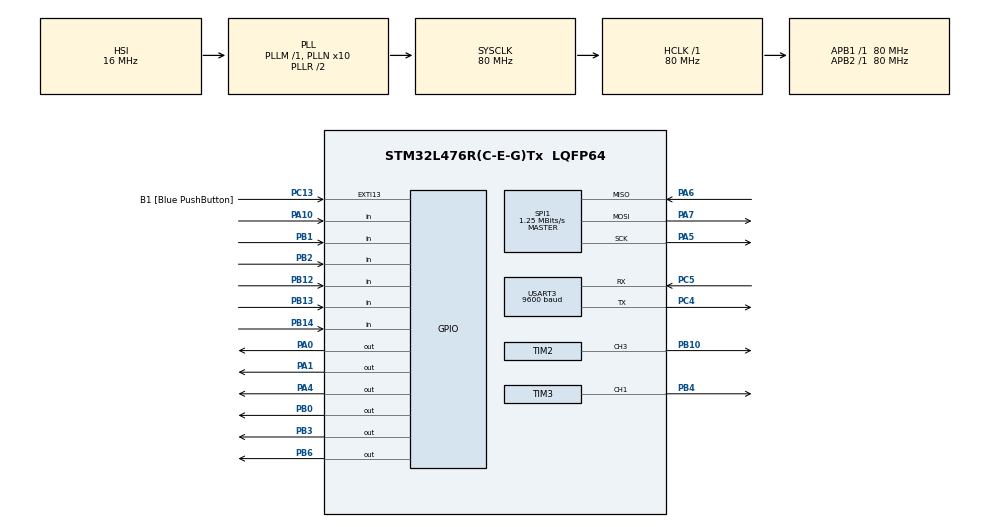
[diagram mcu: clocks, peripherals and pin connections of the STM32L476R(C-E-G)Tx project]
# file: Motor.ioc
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Mcu.Family=STM32L4
Mcu.Name=STM32L476R(C-E-G)Tx
Mcu.Package=LQFP64
NVIC.PriorityGroup=NVIC_PRIORITYGROUP_4
PA0.GPIO_Speed=GPIO_SPEED_FREQ_HIGH
PA0.Signal=GPIO_Output
PA1.GPIO_Speed=GPIO_SPEED_FREQ_HIGH
PA1.Signal=GPIO_Output
PA10.GPIO_PuPd=GPIO_PULLDOWN
PA10.Signal=GPIO_Input
PA13\ (JTMS-SWDIO).GPIO_Label=TMS
PA13\ (JTMS-SWDIO).Mode=Serial_Wire
PA13\ (JTMS-SWDIO).Signal=SYS_JTMS-SWDIO
PA14\ (JTCK-SWCLK).GPIO_Label=TCK
PA14\ (JTCK-SWCLK).Mode=Serial_Wire
PA14\ (JTCK-SWCLK).Signal=SYS_JTCK-SWCLK
PA4.GPIO_Speed=GPIO_SPEED_FREQ_HIGH
PA4.Signal=GPIO_Output
PA5.Mode=Full_Duplex_Master
PA5.Signal=SPI1_SCK
PA6.Mode=Full_Duplex_Master
PA6.Signal=SPI1_MISO
PA7.Mode=Full_Duplex_Master
PA7.Signal=SPI1_MOSI
PB0.GPIO_Speed=GPIO_SPEED_FREQ_HIGH
PB0.Signal=GPIO_Output
PB1.GPIO_PuPd=GPIO_PULLUP
PB1.Signal=GPIO_Input
PB10.Signal=S_TIM2_CH3
PB12.GPIO_PuPd=GPIO_PULLUP
PB12.Signal=GPIO_Input
PB13.GPIO_PuPd=GPIO_PULLUP
PB13.Signal=GPIO_Input
PB14.GPIO_PuPd=GPIO_PULLUP
PB14.Signal=GPIO_Input
PB2.GPIO_PuPd=GPIO_PULLUP
PB2.Signal=GPIO_Input
PB3\ (JTDO-TRACESWO).GPIO_PuPd=GPIO_PULLDOWN
PB3\ (JTDO-TRACESWO).Signal=GPIO_Output
PB4\ (NJTRST).Signal=S_TIM3_CH1
PB6.GPIO_FM6=__NULL
PB6.GPIO_Speed=GPIO_SPEED_FREQ_HIGH
PB6.PinState=GPIO_PIN_SET
PB6.Signal=GPIO_Output
PC13.GPIO_Label=B1 [Blue PushButton]
PC13.GPIO_ModeDefaultEXTI=GPIO_MODE_IT_FALLING
PC13.GPIO_PuPd=GPIO_NOPULL
PC13.Signal=GPXTI13
PC14-OSC32_IN\ (PC14).Mode=LSE-External-Oscillator
PC14-OSC32_IN\ (PC14).Signal=RCC_OSC32_IN
PC15-OSC32_OUT\ (PC15).Mode=LSE-External-Oscillator
PC15-OSC32_OUT\ (PC15).Signal=RCC_OSC32_OUT
PC4.Mode=Asynchronous
PC4.Signal=USART3_TX
PC5.Mode=Asynchronous
PC5.Signal=USART3_RX
PH0-OSC_IN\ (PH0).Signal=RCC_OSC_IN
PH1-OSC_OUT\ (PH1).Signal=RCC_OSC_OUT
ProjectManager.HeapSize=0x200
ProjectManager.StackSize=0x400
ProjectManager.TargetToolchain=STM32CubeIDE
RCC.ADCFreq_Value=64000000
RCC.AHBFreq_Value=80000000
RCC.APB1Freq_Value=80000000
RCC.APB1TimFreq_Value=80000000
RCC.APB2Freq_Value=80000000
RCC.APB2TimFreq_Value=80000000
RCC.CortexFreq_Value=80000000
RCC.HCLKFreq_Value=80000000
RCC.HSE_VALUE=8000000
RCC.HSI_VALUE=16000000
RCC.MSI_VALUE=4000000
RCC.PLLN=10
RCC.PLLSourceVirtual=RCC_PLLSOURCE_HSI
RCC.PREFETCH_ENABLE=1
RCC.SYSCLKFreq_VALUE=80000000
RCC.SYSCLKSource=RCC_SYSCLKSOURCE_PLLCLK
RCC.USBFreq_Value=64000000
RCC.VCOOutputFreq_Value=160000000
SH.S_TIM2_CH3.0=TIM2_CH3,PWM Generation3 CH3
SH.S_TIM3_CH1.0=TIM3_CH1,PWM Generation1 CH1
SPI1.BaudRatePrescaler=SPI_BAUDRATEPRESCALER_64
SPI1.CalculateBaudRate=1.25 MBits/s
SPI1.DataSize=SPI_DATASIZE_12BIT
SPI1.Direction=SPI_DIRECTION_2LINES
SPI1.Mode=SPI_MODE_MASTER
SPI1.NSSPMode=SPI_NSS_PULSE_DISABLE
SPI1.VirtualType=VM_MASTER
TIM2.Channel-PWM\ Generation3\ CH3=TIM_CHANNEL_3
TIM2.Period=999
TIM2.Prescaler=79
TIM3.Channel-PWM\ Generation1\ CH1=TIM_CHANNEL_1
TIM3.Period=999
TIM3.Prescaler=79
USART3.BaudRate=9600
USART3.VirtualMode-Asynchronous=VM_ASYNC
VP_TIM2_VS_ClockSourceINT.Mode=Internal
VP_TIM3_VS_ClockSourceINT.Mode=Internal
board=NUCLEO-L476RG

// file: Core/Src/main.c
/* USER CODE BEGIN Header */
/**
  ******************************************************************************
  * @file           : main.c
  * @brief          : Main program body
  ******************************************************************************
  * @attention
  *
  * Copyright (c) 2026 STMicroelectronics.
  * All rights reserved.
  *
  * This software is licensed under terms that can be found in the LICENSE file
  * in the root directory of this software component.
  * If no LICENSE file comes with this software, it is provided AS-IS.
  *
  ******************************************************************************
  */
/* USER CODE END Header */
#include "main.h"
#include "spi.h"
#include "tim.h"
#include "usart.h"
#include "gpio.h"

/* USER CODE BEGIN Includes */
#include <stdio.h>
#include "TRSensors.h"
#include "motor.h"
#include "line_follower.h"
#include "ultrasonic.h"

/* USER CODE END Includes */

void SystemClock_Config(void);

/* USER CODE BEGIN PFP */
extern UART_HandleTypeDef huart3;

int _write(int file, char *ptr, int len)
{
    HAL_UART_Transmit(&huart3, (uint8_t*)ptr, len, HAL_MAX_DELAY);
    return len;
}

#define NUM_SENSORS 5
uint16_t mis_sensores[NUM_SENSORS];
/* USER CODE END PFP */

int main(void)
{

  /* MCU Configuration--------------------------------------------------------*/

  HAL_Init();

  SystemClock_Config();

  /* Initialize all configured peripherals */
  MX_GPIO_Init();
  MX_TIM2_Init();
  MX_TIM3_Init();
  MX_SPI1_Init();
  MX_USART3_UART_Init();

  /* USER CODE BEGIN 2 */
  printf("System start\r\n");

  Motor_Init();
  Ultrasonic_Init();
  TR_Sensors_Init();
  LineFollower_Init();

  printf("Init done\r\n");
  /* USER CODE END 2 */

  /* Infinite loop */
  while (1)
  {
    /* =========================
       MODE 1 : TEST CAPTEURS IR
       ========================= */

    TR_Update_Sensors(mis_sensores);

    printf("IR: %4d %4d %4d %4d %4d\r\n",
           mis_sensores[0],
           mis_sensores[1],
           mis_sensores[2],
           mis_sensores[3],
           mis_sensores[4]);

    HAL_Delay(100);

    /* ===============================
       MODE 2 : SUIVEUR DE LIGNE
       Décommente pour l’utiliser
       =============================== */

    /*
    LineFollower_Update();
    HAL_Delay(10);
    */

    /* ===============================
       MODE 3 : TEST ULTRASON + MOTEUR
       Décommente pour l’utiliser
       =============================== */

    /*
    float distance = Ultrasonic_Read();

    if (distance < 0)
        distance = 0;

    printf("Distance: %.2f cm\r\n", distance);

    if (distance <= 10.0f)
    {
        Motor_Stop();
    }
    else
    {
        Motor_SetSpeed(200, -200);
    }

    HAL_Delay(100);
    */
  }
}

void SystemClock_Config(void)
{
  RCC_OscInitTypeDef RCC_OscInitStruct = {0};
  RCC_ClkInitTypeDef RCC_ClkInitStruct = {0};

  /** Configure the main internal regulator output voltage
  */
  if (HAL_PWREx_ControlVoltageScaling(PWR_REGULATOR_VOLTAGE_SCALE1) != HAL_OK)
  {
    Error_Handler();
  }

  /** Initializes the RCC Oscillators according to the specified parameters
  * in the RCC_OscInitTypeDef structure.
  */
  RCC_OscInitStruct.OscillatorType = RCC_OSCILLATORTYPE_HSI;
  RCC_OscInitStruct.HSIState = RCC_HSI_ON;
  RCC_OscInitStruct.HSICalibrationValue = RCC_HSICALIBRATION_DEFAULT;
  RCC_OscInitStruct.PLL.PLLState = RCC_PLL_ON;
  RCC_OscInitStruct.PLL.PLLSource = RCC_PLLSOURCE_HSI;
  RCC_OscInitStruct.PLL.PLLM = 1;
  RCC_OscInitStruct.PLL.PLLN = 10;
  RCC_OscInitStruct.PLL.PLLP = RCC_PLLP_DIV7;
  RCC_OscInitStruct.PLL.PLLQ = RCC_PLLQ_DIV2;
  RCC_OscInitStruct.PLL.PLLR = RCC_PLLR_DIV2;
  if (HAL_RCC_OscConfig(&RCC_OscInitStruct) != HAL_OK)
  {
    Error_Handler();
  }

  /** Initializes the CPU, AHB and APB buses clocks
  */
  RCC_ClkInitStruct.ClockType = RCC_CLOCKTYPE_HCLK|RCC_CLOCKTYPE_SYSCLK
                              |RCC_CLOCKTYPE_PCLK1|RCC_CLOCKTYPE_PCLK2;
  RCC_ClkInitStruct.SYSCLKSource = RCC_SYSCLKSOURCE_PLLCLK;
  RCC_ClkInitStruct.AHBCLKDivider = RCC_SYSCLK_DIV1;
  RCC_ClkInitStruct.APB1CLKDivider = RCC_HCLK_DIV1;
  RCC_ClkInitStruct.APB2CLKDivider = RCC_HCLK_DIV1;

  if (HAL_RCC_ClockConfig(&RCC_ClkInitStruct, FLASH_LATENCY_4) != HAL_OK)
  {
    Error_Handler();
  }
}

void Error_Handler(void)
{
  __disable_irq();
  while (1)
  {
  }
}
